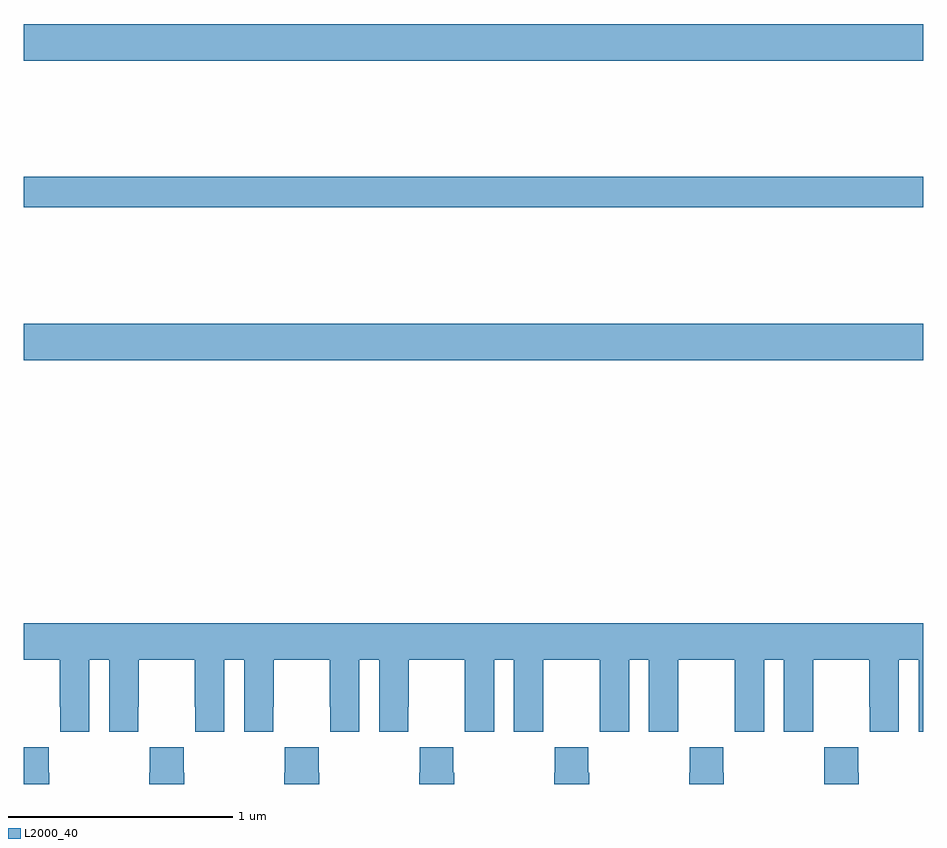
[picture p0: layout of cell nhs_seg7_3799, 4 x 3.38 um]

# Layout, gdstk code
import gdstk
lib = gdstk.Library(unit=1e-6, precision=1e-09)
def R(c, l, rs):  # rectangles x0, y0, x1, y1
    for r in rs: c.add(gdstk.rectangle(r[:2], r[2:], *l))
def P(c, l, *ps):  # polygons
    for p in ps: c.add(gdstk.Polygon(p, *l))
L2000_40 = (2000, 40)

nhs_seg7_3799 = lib.new_cell('nhs_seg7_3799')
R(nhs_seg7_3799, L2000_40, [(351,1065.884,355,1066.048), (351,1066.564,355,1066.7), (351,1067.216,355,1067.38)])
P(nhs_seg7_3799, L2000_40, [(351.292,1064.552),(351.38,1064.552),(351.38,1064.232),(351.51,1064.232),(351.51,1064.344),(351.511,1064.344),(351.511,1064.552),(351.761,1064.552),(351.761,1064.344),(351.762,1064.344),(351.762,1064.232),(351.892,1064.232),(351.892,1064.552),(351.98,1064.552),(351.98,1064.232),(352.11,1064.232),(352.11,1064.344),(352.111,1064.344),(352.111,1064.552),(352.361,1064.552),(352.361,1064.344),(352.362,1064.344),(352.362,1064.232),(352.492,1064.232),(352.492,1064.552),(352.58,1064.552),(352.58,1064.232),(352.71,1064.232),(352.71,1064.344),(352.711,1064.344),(352.711,1064.552),(352.961,1064.552),(352.961,1064.344),(352.962,1064.344),(352.962,1064.232),(353.092,1064.232),(353.092,1064.552),(353.18,1064.552),(353.18,1064.232),(353.31,1064.232),(353.31,1064.344),(353.311,1064.344),(353.311,1064.552),(353.561,1064.552),(353.561,1064.344),(353.562,1064.344),(353.562,1064.232),(353.692,1064.232),(353.692,1064.552),(353.78,1064.552),(353.78,1064.232),(353.91,1064.232),(353.91,1064.344),(353.911,1064.344),(353.911,1064.552),(354.161,1064.552),(354.161,1064.344),(354.162,1064.344),(354.162,1064.232),(354.292,1064.232),(354.292,1064.552),(354.38,1064.552),(354.38,1064.232),(354.51,1064.232),(354.51,1064.344),(354.511,1064.344),(354.511,1064.552),(354.761,1064.552),(354.761,1064.344),(354.762,1064.344),(354.762,1064.232),(354.892,1064.232),(354.892,1064.552),(354.98,1064.552),(354.98,1064.232),(355,1064.232),(355,1064.716),(351,1064.716),(351,1064.552),(351.161,1064.552),(351.161,1064.344),(351.162,1064.344),(351.162,1064.232),(351.292,1064.232)],
  [(351.714,1064.051),(351.711,1064.051),(351.711,1064.164),(351.561,1064.164),(351.561,1064.051),(351.559,1064.051),(351.559,1064),(351.714,1064)],
  [(352.314,1064.051),(352.311,1064.051),(352.311,1064.164),(352.161,1064.164),(352.161,1064.051),(352.159,1064.051),(352.159,1064),(352.314,1064)],
  [(352.914,1064.051),(352.911,1064.051),(352.911,1064.164),(352.761,1064.164),(352.761,1064.051),(352.759,1064.051),(352.759,1064),(352.914,1064)],
  [(353.514,1064.051),(353.511,1064.051),(353.511,1064.164),(353.361,1064.164),(353.361,1064.051),(353.359,1064.051),(353.359,1064),(353.514,1064)],
  [(354.114,1064.051),(354.111,1064.051),(354.111,1064.164),(353.961,1064.164),(353.961,1064.051),(353.959,1064.051),(353.959,1064),(354.114,1064)],
  [(354.714,1064.051),(354.711,1064.051),(354.711,1064.164),(354.561,1064.164),(354.561,1064.051),(354.559,1064.051),(354.559,1064),(354.714,1064)],
  [(351.114,1064.051),(351.111,1064.051),(351.111,1064.164),(351,1064.164),(351,1064),(351.114,1064)])

lib.write_gds('nhs_seg7_3799.gds')
